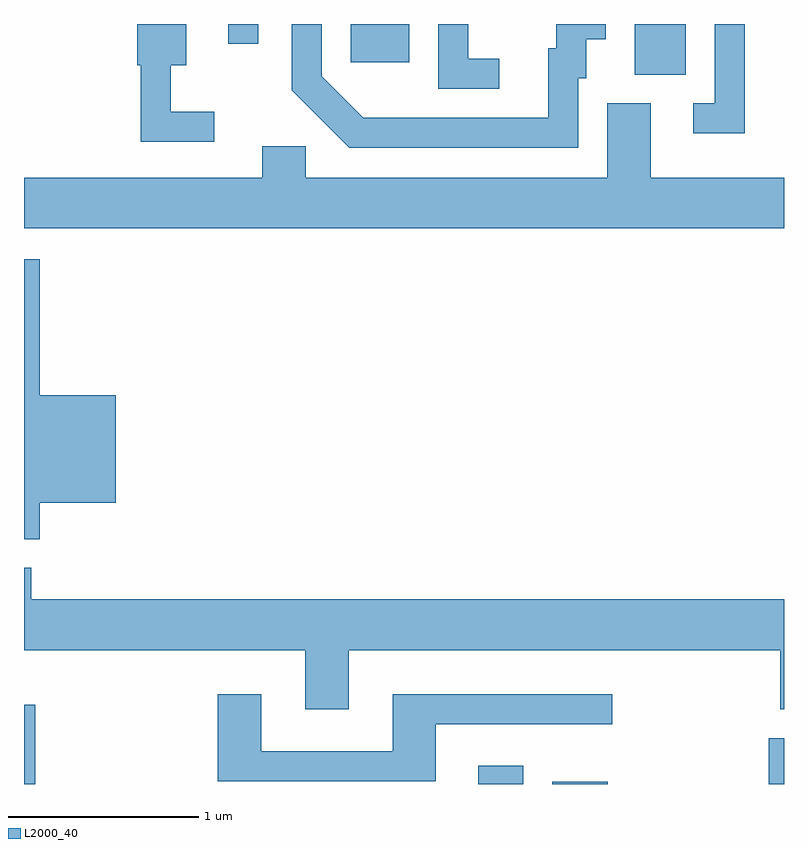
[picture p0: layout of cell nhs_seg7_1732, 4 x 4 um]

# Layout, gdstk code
import gdstk
lib = gdstk.Library(unit=1e-6, precision=1e-09)
def R(c, l, rs):  # rectangles x0, y0, x1, y1
    for r in rs: c.add(gdstk.rectangle(r[:2], r[2:], *l))
def P(c, l, *ps):  # polygons
    for p in ps: c.add(gdstk.Polygon(p, *l))
L2000_40 = (2000, 40)

nhs_seg7_1732 = lib.new_cell('nhs_seg7_1732')
R(nhs_seg7_1732, L2000_40, [(237.611,1740.252,237.669,1740.669), (240.003,1740.252,240.239,1740.349), (240.391,1740.252,240.684,1740.264), (241.531,1740.252,241.611,1740.494), (240.826,1743.986,241.094,1744.252), (239.331,1744.051,239.639,1744.252), (238.686,1744.148,238.844,1744.252)])
P(nhs_seg7_1732, L2000_40, [(240.529,1743.966),(240.569,1743.966),(240.569,1744.171),(240.674,1744.171),(240.674,1744.252),(240.411,1744.252),(240.411,1744.124),(240.371,1744.124),(240.371,1743.759),(239.397,1743.759),(239.179,1743.977),(239.179,1744.252),(239.021,1744.252),(239.021,1743.904),(239.324,1743.601),(240.529,1743.601)],
  [(241.404,1744.252),(241.246,1744.252),(241.246,1743.834),(241.133,1743.834),(241.133,1743.676),(241.404,1743.676)],
  [(240.113,1744.069),(239.949,1744.069),(239.949,1744.252),(239.791,1744.252),(239.791,1743.911),(240.113,1743.911)],
  [(238.613,1743.789),(238.384,1743.789),(238.384,1744.036),(238.464,1744.036),(238.464,1744.252),(238.206,1744.252),(238.206,1744.036),(238.226,1744.036),(238.226,1743.631),(238.613,1743.631)],
  [(241.611,1743.444),(240.909,1743.444),(240.909,1743.834),(240.681,1743.834),(240.681,1743.444),(239.094,1743.444),(239.094,1743.609),(238.866,1743.609),(238.866,1743.444),(237.611,1743.444),(237.611,1743.176),(241.611,1743.176)],
  [(237.694,1741.731),(238.094,1741.731),(238.094,1742.299),(237.694,1742.299),(237.694,1743.014),(237.611,1743.014),(237.611,1741.541),(237.694,1741.541)],
  [(239.319,1740.956),(241.591,1740.956),(241.591,1740.646),(241.611,1740.646),(241.611,1741.224),(237.649,1741.224),(237.649,1741.389),(237.611,1741.389),(237.611,1740.956),(239.091,1740.956),(239.091,1740.646),(239.319,1740.646)],
  [(239.779,1740.566),(240.708,1740.566),(240.708,1740.724),(239.551,1740.724),(239.551,1740.424),(238.859,1740.424),(238.859,1740.724),(238.631,1740.724),(238.631,1740.266),(239.779,1740.266)])

lib.write_gds('nhs_seg7_1732.gds')
